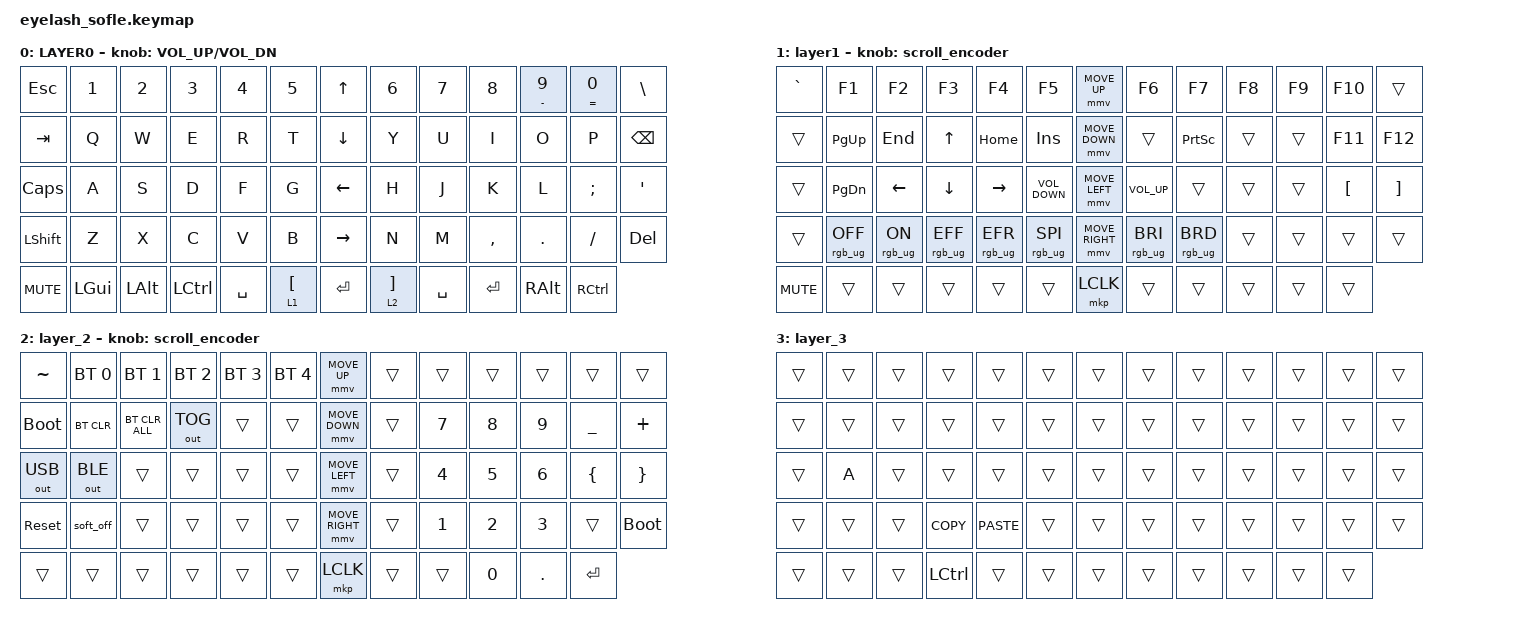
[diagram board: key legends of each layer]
#define ZMK_POINTING_DEFAULT_MOVE_VAL 1200  // 600
#define ZMK_POINTING_DEFAULT_SCRL_VAL 25   // 10

#include <input/processors.dtsi>
#include <zephyr/dt-bindings/input/input-event-codes.h>
#include <behaviors.dtsi>
#include <dt-bindings/zmk/bt.h>
#include <dt-bindings/zmk/keys.h>
#include <dt-bindings/zmk/outputs.h>
#include <dt-bindings/zmk/pointing.h>
#include <dt-bindings/zmk/rgb.h>

&mmv_input_listener { input-processors = <&zip_xy_scaler 2 1>; };

&msc_input_listener { input-processors = <&zip_scroll_scaler 2 1>; };

&msc {
    acceleration-exponent = <1>;      // 0
    time-to-max-speed-ms = <100>;       // 300
    delay-ms = <0>;                   // 0
};

&mmv {
    time-to-max-speed-ms = <500>;
    acceleration-exponent = <1>;
    trigger-period-ms = <16>;
};

/ {
    scroll_encoder: scroll_encoder {
        compatible = "zmk,behavior-sensor-rotate";
        #sensor-binding-cells = <0>;
        bindings = <&msc SCRL_DOWN>, <&msc SCRL_UP>;

        tap-ms = <100>;
    };

    behaviors {
    };

    macros {
        layer3: layer3 {
            compatible = "zmk,behavior-macro";
            #binding-cells = <0>;
            bindings = <&kp RIGHT_BRACKET &kp NUMBER_3>;
            label = "LAYER3";
        };
    };

    combos {
        compatible = "zmk,combos";

        layer3 {
            bindings = <&tog 3>;
            key-positions = <59 3>;
        };
    };

    keymap {
        compatible = "zmk,keymap";

        layer0 {
            bindings = <
&kp ESC     &kp N1        &kp N2        &kp N3     &kp N4     &kp N5                &kp UP_ARROW     &kp N6               &kp N7     &kp N8     &mt MINUS N9   &mt EQUAL N0  &kp BACKSLASH
&kp TAB     &kp Q         &kp W         &kp E      &kp R      &kp T                 &kp DOWN_ARROW   &kp Y                &kp U      &kp I      &kp O          &kp P         &kp BACKSPACE
&kp CAPS    &kp A         &kp S         &kp D      &kp F      &kp G                 &kp LEFT_ARROW   &kp H                &kp J      &kp K      &kp L          &kp SEMI      &kp APOS
&kp LSHFT   &kp Z         &kp X         &kp C      &kp V      &kp B                 &kp RIGHT_ARROW  &kp N                &kp M      &kp COMMA  &kp DOT        &kp FSLH      &kp DELETE
&kp C_MUTE  &kp LEFT_GUI  &kp LEFT_ALT  &kp LCTRL  &kp SPACE  &lt 1 LEFT_BRACKET    &kp ENTER        &lt 2 RIGHT_BRACKET  &kp SPACE  &kp ENTER  &kp RIGHT_ALT  &kp RCTRL
            >;

            sensor-bindings = <&inc_dec_kp C_VOLUME_UP C_VOL_DN>;
            display-name = "LAYER0";
        };

        layer_1 {
            bindings = <
&kp GRAVE   &kp F1           &kp F2          &kp F3           &kp F4           &kp F5               &mmv MOVE_UP     &kp F6           &kp F7           &kp F8  &kp F9  &kp F10           &trans
&trans      &kp PG_UP        &kp END         &kp UP_ARROW     &kp HOME         &kp INS              &mmv MOVE_DOWN   &trans           &kp PRINTSCREEN  &trans  &trans  &kp F11           &kp F12
&trans      &kp PAGE_DOWN    &kp LEFT        &kp DOWN         &kp RIGHT        &kp C_VOLUME_DOWN    &mmv MOVE_LEFT   &kp C_VOLUME_UP  &trans           &trans  &trans  &kp LEFT_BRACKET  &kp RIGHT_BRACKET
&trans      &rgb_ug RGB_OFF  &rgb_ug RGB_ON  &rgb_ug RGB_EFF  &rgb_ug RGB_EFR  &rgb_ug RGB_SPI      &mmv MOVE_RIGHT  &rgb_ug RGB_BRI  &rgb_ug RGB_BRD  &trans  &trans  &trans            &trans
&kp C_MUTE  &trans           &trans          &trans           &trans           &trans               &mkp LCLK        &trans           &trans           &trans  &trans  &trans
            >;

            display-name = "layer1";
            sensor-bindings = <&scroll_encoder>;
        };

        layer_2 {
            bindings = <
&kp TILDE     &bt BT_SEL 0  &bt BT_SEL 1    &bt BT_SEL 2  &bt BT_SEL 3  &bt BT_SEL 4    &mmv MOVE_UP     &trans  &trans        &trans        &trans        &trans      &trans
&bootloader   &bt BT_CLR    &bt BT_CLR_ALL  &out OUT_TOG  &trans        &trans          &mmv MOVE_DOWN   &trans  &kp N7        &kp N8        &kp N9        &kp UNDER   &kp PLUS
&out OUT_USB  &out OUT_BLE  &trans          &trans        &trans        &trans          &mmv MOVE_LEFT   &trans  &kp NUMBER_4  &kp N5        &kp NUMBER_6  &kp LBRC    &kp RBRC
&sys_reset    &soft_off     &trans          &trans        &trans        &trans          &mmv MOVE_RIGHT  &trans  &kp NUMBER_1  &kp NUMBER_2  &kp NUMBER_3  &trans      &bootloader
&trans        &trans        &trans          &trans        &trans        &trans          &mkp LCLK        &trans  &trans        &kp N0        &kp PERIOD    &kp RETURN
            >;

            sensor-bindings = <&scroll_encoder>;
        };

        layer_3 {
            bindings = <
&trans  &trans  &trans  &trans            &trans       &trans    &trans  &trans  &trans  &trans  &trans  &trans  &trans
&trans  &trans  &trans  &trans            &trans       &trans    &trans  &trans  &trans  &trans  &trans  &trans  &trans
&trans  &kp A   &trans  &trans            &trans       &trans    &trans  &trans  &trans  &trans  &trans  &trans  &trans
&trans  &trans  &trans  &kp K_COPY        &kp K_PASTE  &trans    &trans  &trans  &trans  &trans  &trans  &trans  &trans
&trans  &trans  &trans  &kp LEFT_CONTROL  &trans       &trans    &trans  &trans  &trans  &trans  &trans  &trans
            >;
        };
    };
};
